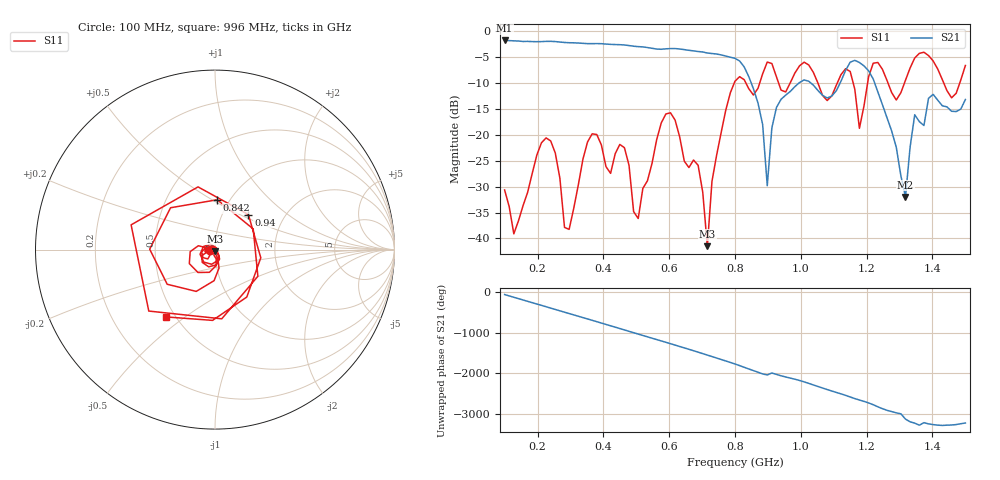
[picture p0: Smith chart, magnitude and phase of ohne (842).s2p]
! NanoVNA-App
! Date: 2025-09-25 14:27:21
! Start: 100MHz Stop: 1,5GHz Points: 101
! S-Parameter data: F S11 S21 S12 S22
# Hz S RI R 50
!  Frequency  S11_Real  S11_Imag  S21_Real  S21_Imag  S12_Real  S12_Imag  S22_Real  S22_Imag
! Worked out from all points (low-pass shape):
!   101 points, 100 MHz to 1.5 GHz, reference 50 ohm
!   highest |S21| = -1.79 dB at 100 MHz (marker M1); lowest = -32.0 dB at 1.318 GHz (marker M2)
!   |S21| within 3 dB of the highest: start of sweep to 771.2 MHz
!   lowest |S11| = -41.5 dB at 716 MHz (marker M3), VSWR 1.02, Z = 49.8 - j0.824 ohm
!   |S11| at or under -10 dB: start of sweep to 797.8 MHz; 833 MHz to 875.1 MHz (42.05 MHz wide, 4.92 % of centre); 1.052 GHz to 1.111 GHz (58.92 MHz wide, 5.45 % of centre) (the widest 3 of 7)
!   S12 and S22 are empty: the file has one direction only
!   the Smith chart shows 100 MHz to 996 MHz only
!   S11 on the Smith chart (normalised r, x): 100 MHz: 0.94, -0.01; 842 MHz: 0.88, +0.53; 940 MHz: 1.32, +0.56; 996 MHz: 0.45, -0.43
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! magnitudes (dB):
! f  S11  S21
! 100 MHz  -30.6  -1.8
! 128 MHz  -39.1  -1.9
! 226 MHz  -20.6  -2.0
! 296 MHz  -38.2  -2.2
! 338 MHz  -24.7  -2.3
! 464 MHz  -22.5  -2.7
! 506 MHz  -36.1  -3.0
! 576 MHz  -17.7  -3.5
! 688 MHz  -25.9  -3.9
! 716 MHz  -41.5  -4.2
! 800 MHz  -9.7  -5.2
! 842 MHz  -11.1  -8.8
! 898 MHz  -6.0  -29.8
! 940 MHz  -11.4  -13.1
! 996 MHz  -6.7  -9.9
! 1.038 GHz  -7.9  -10.4
! 1.178 GHz  -18.8  -6.0
! 1.22 GHz  -6.2  -9.2
! 1.276 GHz  -11.8  -19.3
! 1.318 GHz  -9.5  -32.0
! 1.346 GHz  -5.2  -16.1
! 1.5 GHz  -6.6  -13.2
